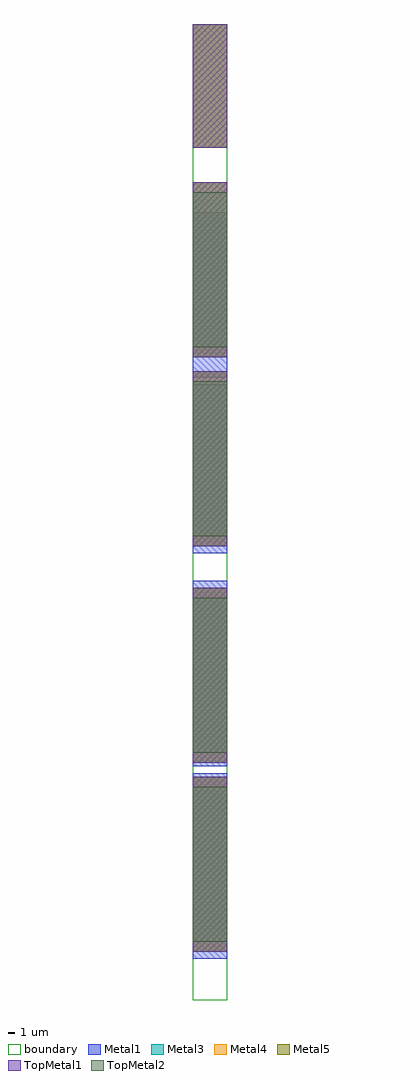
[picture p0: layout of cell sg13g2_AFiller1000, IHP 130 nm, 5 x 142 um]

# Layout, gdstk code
import gdstk
lib = gdstk.Library(unit=1e-6, precision=5e-09)
def R(c, l, rs):  # rectangles x0, y0, x1, y1
    for r in rs: c.add(gdstk.rectangle(r[:2], r[2:], *l))
Metal1 = (8, 0)
Metal3 = (30, 0)
Metal4 = (50, 0)
Metal5 = (67, 0)
TopMetal1 = (126, 0)
TopMetal2 = (134, 0)
boundary = (189, 4)

sg13g2_afiller1000 = lib.new_cell('sg13g2_AFiller1000')
R(sg13g2_afiller1000, Metal1, [(0,6,5,33), (0,34,5,61), (0,65,5,89.56), (0,90.56,5,114.62)])
R(sg13g2_afiller1000, Metal3, [(0,7,5,32.5), (0,34.5,5,60), (0,66,5,91.5), (0,93.5,5,119), (0,124,5,142)])
R(sg13g2_afiller1000, Metal4, [(0,7,5,32.5), (0,34.5,5,60), (0,66,5,91.5), (0,93.5,5,119), (0,124,5,142)])
R(sg13g2_afiller1000, Metal5, [(0,7,5,32.5), (0,34.5,5,60), (0,66,5,91.5), (0,93.5,5,119), (0,124,5,142)])
R(sg13g2_afiller1000, TopMetal1, [(0,7,5,32.5), (0,34.5,5,60), (0,66,5,91.5), (0,93.5,5,119), (0,124,5,142)])
R(sg13g2_afiller1000, TopMetal2, [(0,8.5,5,31), (0,36,5,58.5), (0,67.5,5,90), (0,95,5,117.5)])
R(sg13g2_afiller1000, boundary, [(0,0,5,142)])

lib.write_gds('sg13g2_AFiller1000.gds')
